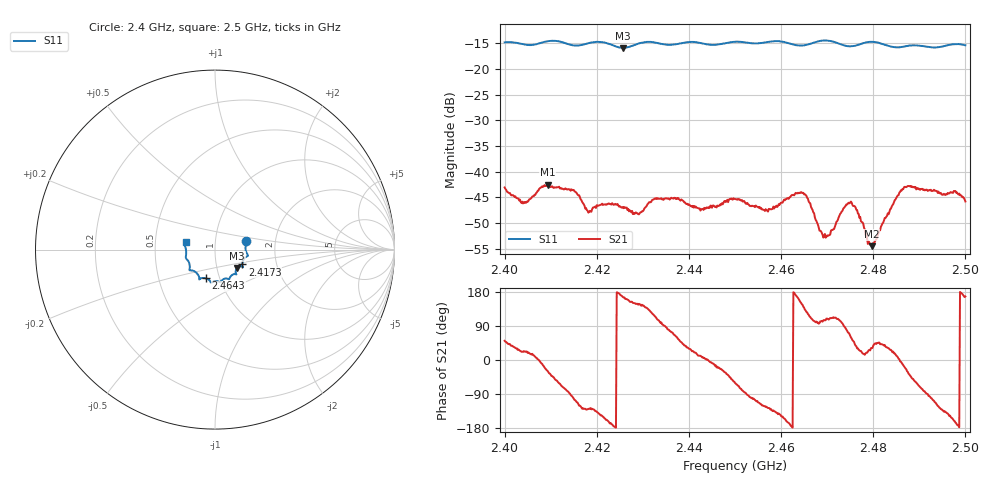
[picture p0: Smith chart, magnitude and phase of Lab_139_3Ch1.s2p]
# Hz S RI R 50
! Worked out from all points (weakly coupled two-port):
!   601 points, 2.4 GHz to 2.5 GHz, reference 50 ohm
!   highest |S21| = -42.55 dB at 2.4093 GHz (marker M1); lowest = -54.5 dB at 2.4797 GHz (marker M2)
!   lowest |S11| = -15.9 dB at 2.4257 GHz (marker M3), VSWR 1.38, Z = 62.4 - j13.1 ohm
!   |S11| at or under -10 dB: start of sweep to end of sweep
!   S12 and S22 are empty: the file has one direction only
!   S11 on the Smith chart (normalised r, x): 2.4 GHz: 1.41, +0.14; 2.4173 GHz: 1.34, -0.23; 2.4643 GHz: 0.86, -0.28; 2.5 GHz: 0.72, +0.06
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2.4e9  0.1737 0.0491  0.00445 0.00544  0 0  0 0
2.404167e9  0.171 0.023  0.00464 0.002  0 0  0 0
2.409333e9  0.1828 -0.0302  0.00653 -0.0036  0 0  0 0
2.415e9  0.1588 -0.0559  -0.00137 -0.00652  0 0  0 0
2.416667e9  0.1526 -0.0751  -0.00307 -0.00431  0 0  0 0
2.417333e9  0.152 -0.0825  -0.00292 -0.00365  0 0  0 0
2.425667e9  0.1224 -0.1024  -0.00442 0.00108  0 0  0 0
2.429167e9  0.1161 -0.1323  -0.00328 0.00203  0 0  0 0
2.433333e9  0.1126 -0.1365  -0.00147 0.00531  0 0  0 0
2.442667e9  0.0714 -0.1624  0.00424 0.00072  0 0  0 0
2.45e9  0.0296 -0.1806  0.00269 -0.00473  0 0  0 0
2.456667e9  -0.0118 -0.1803  -0.00242 -0.00359  0 0  0 0
2.464333e9  -0.0501 -0.1601  -0.00555 0.00308  0 0  0 0
2.466667e9  -0.0761 -0.1594  -0.0014 0.00415  0 0  0 0
2.469667e9  -0.0876 -0.1667  -0.000592 0.00221  0 0  0 0
2.474e9  -0.0974 -0.136  0.000524 0.00463  0 0  0 0
2.4755e9  -0.1116 -0.1224  0.00291 0.00374  0 0  0 0
2.479667e9  -0.1426 -0.1145  0.00161 0.000993  0 0  0 0
2.483333e9  -0.1405 -0.0895  0.00331 0.002  0 0  0 0
2.487333e9  -0.1573 -0.0544  0.00625 -0.00353  0 0  0 0
2.497833e9  -0.1711 0.0307  -0.00628 -0.00169  0 0  0 0
2.5e9  -0.1638 0.0419  -0.00503 0.00109  0 0  0 0
